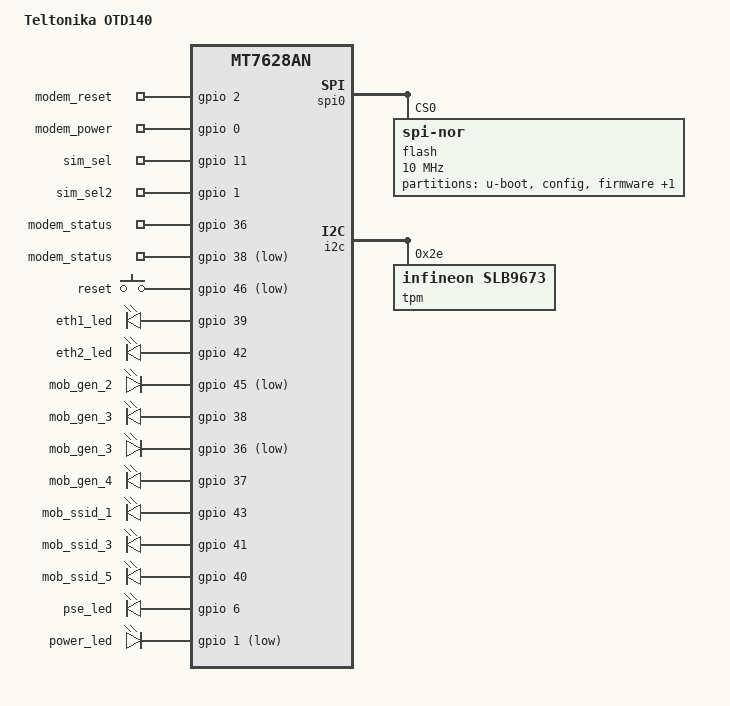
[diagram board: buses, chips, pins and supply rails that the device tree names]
// SPDX-License-Identifier: GPL-2.0-or-later OR MIT
/dts-v1/;

#include <dt-bindings/input/input.h>
#include <dt-bindings/gpio/gpio.h>
#include "mt7628an.dtsi"
#include "platform_name.dtsi"

/ {
	compatible = "teltonika,otd140", "mediatek,mt7628an-soc";
	model = "Teltonika OTD140";

	chosen {
		bootargs = "console=ttyS0,115200 root=/dev/mtdblock4";
	};

	gpio-export {
		compatible = "gpio-export";
		#size-cells = <0>;

		gpio_modem_reset {
			gpio-export,name = "modem_reset";
			gpio-export,output = <0>;
			gpios = <&gpio 2 GPIO_ACTIVE_HIGH>;
		};

		gpio_modem_power {
			gpio-export,name = "modem_power";
			gpio-export,output = <0>;
			gpios = <&gpio 0 GPIO_ACTIVE_HIGH>;
		};

		gpio_sim_select {
			gpio-export,name = "sim_sel";
			gpio-export,output = <0>;
			gpios = <&gpio 11 GPIO_ACTIVE_HIGH>;
		};

		gpio_sim_select_2 {
			gpio-export,name = "sim_sel2";
			gpio-export,output = <0>;
			gpios = <&gpio 1 GPIO_ACTIVE_HIGH>;
			tlt-mnf,hwver = <500 9999>;
		};

		modem_status {
			gpio-export,name = "modem_status";
			gpios = <&gpio 36 GPIO_ACTIVE_HIGH>;
			tlt-mnf,hwver = <0 499>;
		};

		modem_status@1 {
			gpio-export,name = "modem_status";
			gpios = <&gpio 38 GPIO_ACTIVE_LOW>;
			tlt-mnf,hwver = <500 9999>;
		};
	};

	keys {
		compatible = "gpio-keys";

		reset {
			label = "reset";
			gpios = <&gpio 46 GPIO_ACTIVE_LOW>;
			linux,code = <KEY_RESTART>;
		};
	};

	leds {
		compatible = "gpio-leds";

		eth1_led {
			label = "eth1_led";
			gpios = <&gpio 39 GPIO_ACTIVE_HIGH>;
		};

		eth2_led {
			label = "eth2_led";
			gpios = <&gpio 42 GPIO_ACTIVE_HIGH>;
		};

		led_gen_2 {
			label = "mob_gen_2";
			gpios = <&gpio 45 GPIO_ACTIVE_LOW>;
		};

		led_gen_3 {
			label = "mob_gen_3";
			gpios = <&gpio 38 GPIO_ACTIVE_HIGH>;
			tlt-mnf,hwver = <0 499>;
		};

		led_gen_3@1 {
			label = "mob_gen_3";
			gpios = <&gpio 36 GPIO_ACTIVE_LOW>;
			tlt-mnf,hwver = <500 9999>;
		};

		led_gen_4 {
			label = "mob_gen_4";
			gpios = <&gpio 37 GPIO_ACTIVE_HIGH>;
		};

		led_ssid_1 {
			label = "mob_ssid_1";
			gpios = <&gpio 43 GPIO_ACTIVE_HIGH>;
			linux,default-trigger = "timer";
		};

		led_ssid_3 {
			label = "mob_ssid_3";
			gpios = <&gpio 41 GPIO_ACTIVE_HIGH>;
			linux,default-trigger = "timer";
		};

		led_ssid_5 {
			label = "mob_ssid_5";
			gpios = <&gpio 40 GPIO_ACTIVE_HIGH>;
			linux,default-trigger = "timer";
		};

		pse_led {
			label = "pse_led";
			gpios = <&gpio 6 GPIO_ACTIVE_HIGH>;
		};

		power_led {
			label = "power_led";
			gpios = <&gpio 1 GPIO_ACTIVE_LOW>;
			default-state = "on";
			retain-state-shutdown;
			tlt-mnf,hwver = <0 499>;
		};
	};

	tlt_gpios {
		gpiochip_info {
			hw_0 {
				hwver = <0>;
				gpiochip_count = <3>;

				gpiochip_0 = <32>; // Built-in
				gpiochip_1 = <32>; // Built-in
				gpiochip_2 = <32>; // Built-in
			};
		};

		misc {
			GPIO_0 {
				line_name = "GPIO_MODEM_POWER_1";
			};
			GPIO_2 {
				line_name = "GPIO_MODEM_RESET_1";
			};
			GPIO_11 {
				line_name = "GPIO_SIM_SELECT";
			};
			GPIO_1 {
				line_name = "GPIO_SIM_SELECT_2";
				compatible_versions = <5 99>;
			};
			GPIO_36 {
				line_name = "GPIO_MODEM_STATUS";
				compatible_versions = <0 4>;
			};
			GPIO_38 {
				line_name = "GPIO_MODEM_STATUS";
				compatible_versions = <5 99>;
				active_low;
			};
		};
	};

	poeman {
		bus = "/dev/i2c-0";
		budget@0 {
			budget = <15500>;
			max_port_power = <15400>;
			allowed_deficit = <300>;
		};
	};
};

&mnfinfo {
	simpin1 {
		default = "";
		sec;
	};

	simpin2 {
		default = "";
		sec;
	};

	sim_cfg {
		default = "2111000_2112000";
	};

	sim_count {
		default =  "2";
	};
};

&state_default {
	gpio {
		groups = "i2s", "uart1", "p4led_an", "p3led_an", "p2led_an", "p1led_an", "p0led_an", "gpio", "wled_an", "perst", "spi cs1";
		function = "gpio";
	};
};

&spi0 {
	status = "okay";

	flash@0 {
		compatible = "jedec,spi-nor";
		reg = <0>;
		spi-max-frequency = <10000000>;

		partitions {
			compatible = "fixed-partitions";
			#address-cells = <1>;
			#size-cells = <1>;

			boot: partition@0 {
				label = "u-boot";
				reg = <0x0 0x20000>;
				read-only;
			};

			config: partition@20000 {
				compatible = "nvmem-cells";
				#address-cells = <1>;
				#size-cells = <1>;

				label = "config";
				reg = <0x020000 0x010000>;
				read-only;

				macaddr_config_0: macaddr@0 {
					reg = <0x0 0x6>;
				};
			};

			partition@30000 {
				compatible = "denx,uimage";
				label = "firmware";
				reg = <0x030000 0xf40000>;
			};

			partition@f70000 {
				label = "event-log";
				reg = <0xf70000 0x90000>;
			};
		};
	};
};

&ethernet {
	nvmem-cells = <&macaddr_config_0>;
	nvmem-cell-names = "mac-address";
};

&esw {
	mediatek,portmap = <0x3e>;
};

&i2c {
	status = "okay";

	tpm@2e {
		compatible = "infineon,slb9673";
		reg = <0x2e>;
		status = "okay";
	};
};
